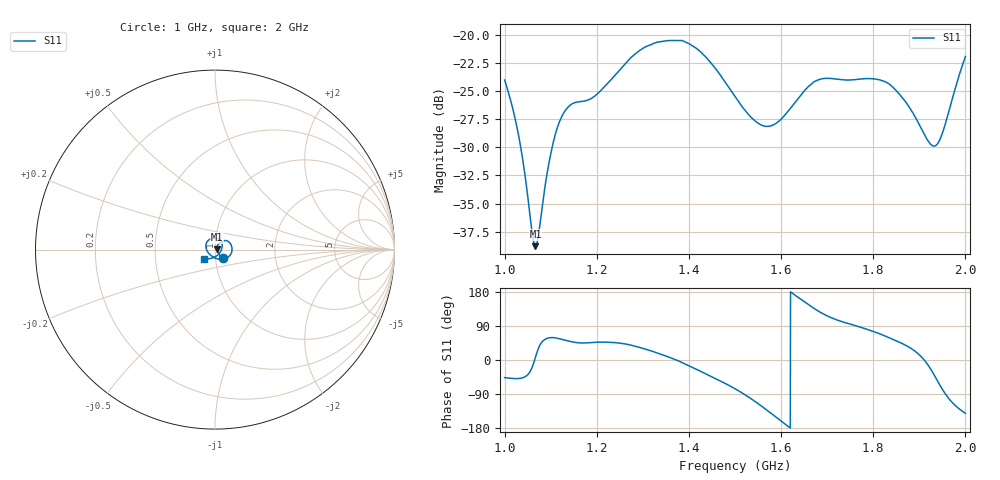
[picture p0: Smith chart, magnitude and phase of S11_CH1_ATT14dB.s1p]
!Keysight Technologies,N5245A,US52130011,A.10.65.16
!Date: Monday, July 14, 2025 15:08:55
!Correction: S11(Full 1 Port(1))
!S1P File: Measurement: S11:
# Hz S  RI  R 50
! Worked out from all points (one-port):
!   2001 points, 1 GHz to 2 GHz, reference 50 ohm
!   lowest |S11| = -38.8 dB at 1.067 GHz (marker M1), VSWR 1.02, Z = 51.2 + j0.151 ohm
!   |S11| at or under -10 dB: start of sweep to end of sweep
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1e9  0.0435 -0.0458
1.03e9  0.0237 -0.0272
1.043e9  0.0175 -0.0176
1.06e9  0.0124 -0.00415
1.067e9  0.0114 0.00148
1.073e9  0.011 0.00626
1.089e9  0.0126 0.0182
1.101e9  0.0155 0.0259
1.125e9  0.0256 0.0356
1.146e9  0.0331 0.0367
1.197e9  0.0369 0.0392
1.25e9  0.0501 0.0492
1.306e9  0.0781 0.0424
1.375e9  0.0947 -0.00204
1.4305e9  0.0692 -0.0447
1.5e9  0.013 -0.0517
1.5355e9  -0.00943 -0.0419
1.5655e9  -0.0247 -0.0305
1.5915e9  -0.0363 -0.0186
1.625e9  -0.0485 0.00353
1.678e9  -0.0414 0.0475
1.75e9  -0.00524 0.063
1.8245e9  0.0273 0.056
1.875e9  0.0397 0.0286
1.9205e9  0.0321 -0.00926
1.9365e9  0.0213 -0.0243
1.9515e9  0.00634 -0.0368
2e9  -0.0622 -0.0509
